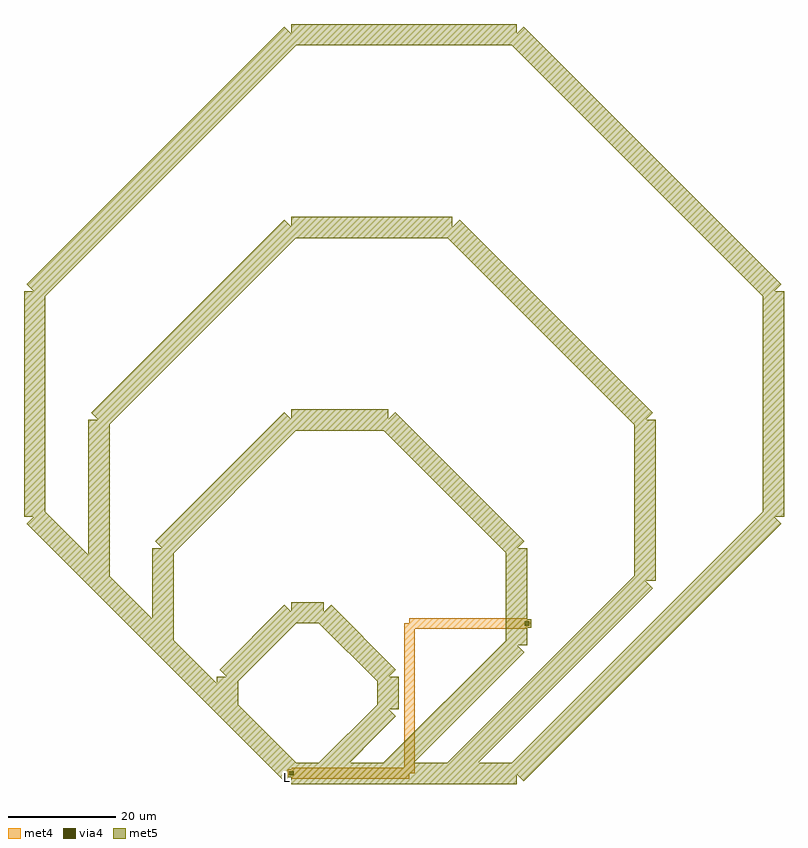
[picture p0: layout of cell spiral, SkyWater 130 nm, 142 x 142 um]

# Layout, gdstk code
import gdstk
lib = gdstk.Library(unit=1e-6, precision=1e-09)
def R(c, l, rs):  # rectangles x0, y0, x1, y1
    for r in rs: c.add(gdstk.rectangle(r[:2], r[2:], *l))
def P(c, l, *ps):  # polygons
    for p in ps: c.add(gdstk.Polygon(p, *l))
met4 = (71, 20)
via4 = (71, 44)
met5 = (72, 20)

spiral = lib.new_cell('spiral')
R(spiral, met4, [(0,-1,22,1), (-0.76,-0.76,0.76,0.76), (21,0,23,28), (22,27,44,29), (43.24,27.24,44.76,28.76)])
R(spiral, via4, [(-0.4,-0.4,0.4,0.4), (43.6,27.6,44.4,28.4)])
R(spiral, met5, [(-0.05,-2,6.05,2), (-0.05,-2,18.05,2), (-0.05,-2,30.05,2), (-0.05,-2,42.05,2), (-0.76,-0.76,0.76,0.76), (-0.76,-0.76,0.76,0.76), (-14,11.95,-10,18.05), (16,11.95,20,18.05), (-26,23.95,-22,42.05), (40,23.95,44,42.05), (43.24,27.24,44.76,28.76), (-0.05,28,6.05,32), (-38,35.95,-34,66.05), (64,35.95,68,66.05), (-50,47.95,-46,90.05), (88,47.95,92,90.05), (-0.05,64,18.05,68), (-0.05,100,30.05,104), (-0.05,136,42.05,140)])
P(spiral, met5, [(7.38,-1.45),(4.55,1.38),(16.62,13.45),(19.45,10.62)],
  [(16.62,16.55),(4.55,28.62),(7.38,31.45),(19.45,19.38)],
  [(-10.62,16.55),(-13.45,19.38),(-1.38,31.45),(1.45,28.62)],
  [(-1.38,-1.45),(-13.45,10.62),(-10.62,13.45),(1.45,1.38)],
  [(19.38,-1.45),(16.55,1.38),(40.62,25.45),(43.45,22.62)],
  [(40.62,40.55),(16.55,64.62),(19.38,67.45),(43.45,43.38)],
  [(-22.62,40.55),(-25.45,43.38),(-1.38,67.45),(1.45,64.62)],
  [(-1.38,-1.45),(-25.45,22.62),(-22.62,25.45),(1.45,1.38)],
  [(31.38,-1.45),(28.55,1.38),(64.62,37.45),(67.45,34.62)],
  [(64.62,64.55),(28.55,100.62),(31.38,103.45),(67.45,67.38)],
  [(-34.62,64.55),(-37.45,67.38),(-1.38,103.45),(1.45,100.62)],
  [(-1.38,-1.45),(-37.45,34.62),(-34.62,37.45),(1.45,1.38)],
  [(43.38,-1.45),(40.55,1.38),(88.62,49.45),(91.45,46.62)],
  [(88.62,88.55),(40.55,136.62),(43.38,139.45),(91.45,91.38)],
  [(-46.62,88.55),(-49.45,91.38),(-1.38,139.45),(1.45,136.62)],
  [(-1.38,-1.45),(-49.45,46.62),(-46.62,49.45),(1.45,1.38)])
spiral.add(gdstk.Label('L', (-0.76,-0.76), layer=72, texttype=5))
spiral.add(gdstk.Label('L', (0,0), layer=72, texttype=5))

lib.write_gds('spiral.gds')
